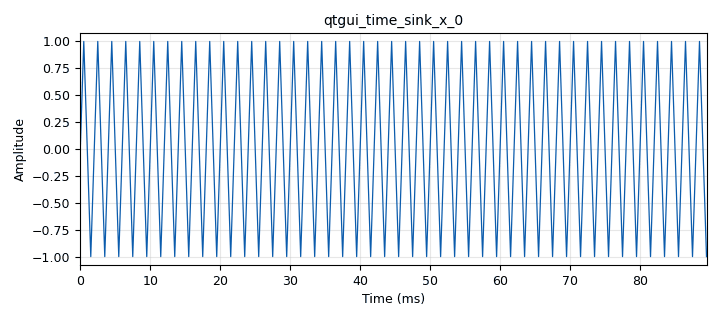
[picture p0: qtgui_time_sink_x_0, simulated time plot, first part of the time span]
options:
  parameters:
    generate_options: qt_gui
    id: Lab01_SyS
    output_language: python
    title: Lab01_SyS
  states: {}

blocks:
- name: Fs
  id: variable
  parameters:
    value: '2000'
  states: {}
- name: analog_sig_source_x_0
  id: analog_sig_source_x
  parameters:
    amp: '1'
    freq: '500'
    offset: '0'
    phase: '0'
    samp_rate: Fs
    type: float
    waveform: analog.GR_SIN_WAVE
  states: {}
- name: blocks_throttle_0
  id: blocks_throttle
  parameters:
    samples_per_second: Fs
    type: float
  states: {}
- name: qtgui_time_sink_x_0
  id: qtgui_time_sink_x
  parameters:
    size: '1024'
    srate: Fs
    type: float
  states: {}

connections:
- [analog_sig_source_x_0, '0', blocks_throttle_0, '0']
- [blocks_throttle_0, '0', qtgui_time_sink_x_0, '0']

metadata:
  file_format: 1
